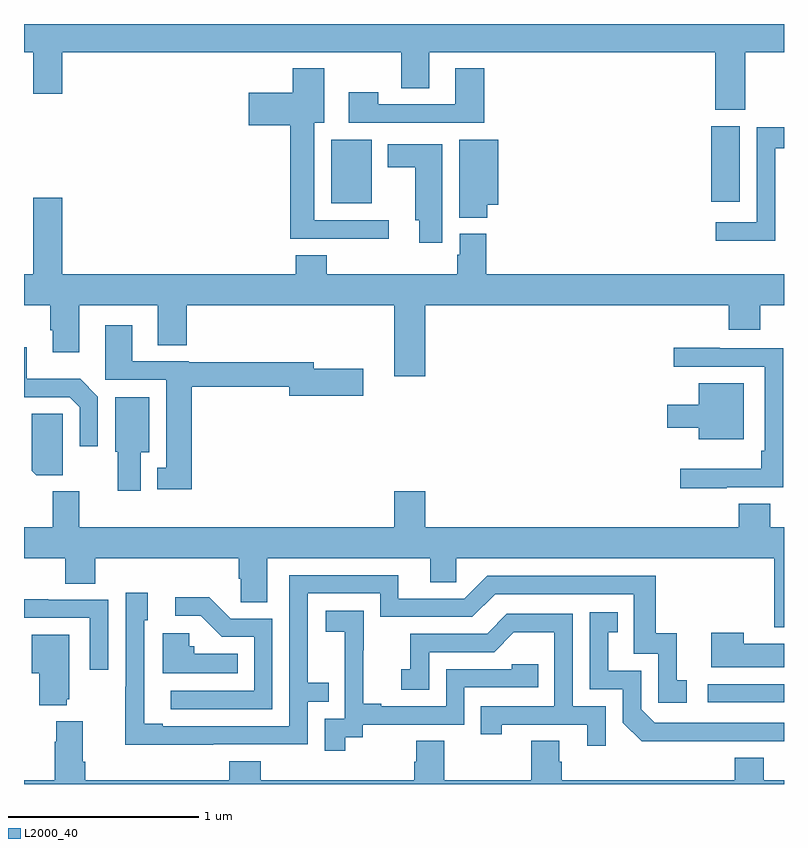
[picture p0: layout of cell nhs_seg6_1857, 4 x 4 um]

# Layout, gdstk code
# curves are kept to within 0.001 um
import gdstk
lib = gdstk.Library(unit=1e-6, precision=1e-09)
def R(c, l, rs):  # rectangles x0, y0, x1, y1
    for r in rs: c.add(gdstk.rectangle(r[:2], r[2:], *l))
def P(c, l, *ps):  # polygons
    for p in ps: c.add(gdstk.Polygon(p, *l))
L2000_40 = (2000, 40)

nhs_seg6_1857 = lib.new_cell('nhs_seg6_1857')
R(nhs_seg6_1857, L2000_40, [(226.599,927.93,227,928.026), (224.618,930.557,224.83,930.892), (226.616,930.564,226.768,930.963)])
P(nhs_seg6_1857, L2000_40, [(226.797,931.352),(227,931.352),(227,931.5),(223,931.5),(223,931.352),(223.049,931.352),(223.049,931.134),(223.202,931.134),(223.202,931.352),(224.986,931.352),(224.986,931.162),(225.133,931.162),(225.133,931.352),(226.637,931.352),(226.637,931.048),(226.797,931.048)],
  [(224.92,930.468),(224.527,930.468),(224.527,930.98),(224.581,930.98),(224.581,931.267),(224.414,931.267),(224.414,931.138),(224.184,931.138),(224.184,930.968),(224.402,930.968),(224.402,930.371),(224.92,930.371)],
  [(225.422,931.267),(225.269,931.267),(225.269,931.077),(224.865,931.077),(224.865,931.141),(224.709,931.141),(224.709,930.981),(225.422,930.981)],
  [(226.953,930.845),(227,930.845),(227,930.956),(226.857,930.956),(226.857,930.456),(226.641,930.456),(226.641,930.359),(226.953,930.359)],
  [(225.437,930.548),(225.496,930.548),(225.496,930.892),(225.29,930.892),(225.29,930.481),(225.437,930.481)],
  [(225.202,930.868),(224.915,930.868),(224.915,930.746),(225.059,930.746),(225.059,930.468),(225.08,930.468),(225.08,930.348),(225.202,930.348)],
  [(226.709,929.892),(226.874,929.892),(226.874,930.02),(227,930.02),(227,930.184),(225.434,930.184),(225.434,930.396),(225.293,930.396),(225.293,930.285),(225.281,930.285),(225.281,930.184),(224.594,930.184),(224.594,930.283),(224.429,930.283),(224.429,930.184),(223.202,930.184),(223.202,930.586),(223.049,930.586),(223.049,930.184),(223,930.184),(223,930.02),(223.139,930.02),(223.139,929.887),(223.151,929.887),(223.151,929.772),(223.291,929.772),(223.291,930.02),(223.703,930.02),(223.703,929.809),(223.856,929.809),(223.856,930.02),(224.948,930.02),(224.948,929.646),(225.112,929.646),(225.112,930.02),(226.709,930.02)],
  [(223.883,929.59),(224.396,929.59),(224.396,929.543),(224.785,929.543),(224.785,929.685),(224.524,929.685),(224.524,929.719),(223.866,929.719),(223.866,929.724),(223.57,929.724),(223.57,929.914),(223.427,929.914),(223.427,929.628),(223.748,929.628),(223.748,929.165),(223.7,929.165),(223.7,929.052),(223.883,929.052)],
  [(223.389,929.538),(223.295,929.632),(223.015,929.632),(223.015,929.8),(223,929.8),(223,929.535),(223.242,929.535),(223.293,929.484),(223.293,929.277),(223.389,929.277)],
  [(226.699,929.061),(226.995,929.061),(226.995,929.793),(226.663,929.793),(226.663,929.797),(226.419,929.797),(226.419,929.697),(226.899,929.697),(226.899,929.254),(226.879,929.254),(226.879,929.158),(226.455,929.158),(226.455,929.057),(226.699,929.057)],
  [(226.789,929.608),(226.55,929.608),(226.55,929.497),(226.386,929.497),(226.386,929.375),(226.55,929.375),(226.55,929.315),(226.789,929.315)],
  [(223.615,929.246),(223.66,929.246),(223.66,929.536),(223.481,929.536),(223.481,929.25),(223.493,929.25),(223.493,929.043),(223.615,929.043)],
  [(223.204,929.339),(223.203,929.339),(223.203,929.45),(223.041,929.45),(223.041,929.148),(223.065,929.125),(223.204,929.125)],
  [(227,928.852),(226.928,928.852),(226.928,928.976),(226.763,928.976),(226.763,928.852),(225.112,928.852),(225.112,929.041),(224.948,929.041),(224.948,928.852),(223.291,928.852),(223.291,929.04),(223.151,929.04),(223.151,928.852),(223,928.852),(223,928.688),(223.216,928.688),(223.216,928.555),(223.376,928.555),(223.376,928.688),(224.129,928.688),(224.129,928.579),(224.142,928.579),(224.142,928.456),(224.281,928.456),(224.281,928.688),(225.137,928.688),(225.137,928.561),(225.276,928.561),(225.276,928.688),(226.949,928.688),(226.949,928.326),(227,928.326)],
  [(223.997,927.708),(224.493,927.708),(224.493,927.933),(224.603,927.933),(224.603,928.034),(224.493,928.034),(224.493,928.503),(224.874,928.503),(224.874,928.38),(225.36,928.38),(225.48,928.5),(226.209,928.5),(226.209,928.185),(226.338,928.185),(226.338,927.927),(226.489,927.927),(226.489,928.047),(226.436,928.047),(226.436,928.294),(226.325,928.294),(226.325,928.596),(225.438,928.596),(225.318,928.476),(224.971,928.476),(224.971,928.599),(224.397,928.599),(224.397,927.804),(223.729,927.804),(223.729,927.817),(223.633,927.817),(223.632,928.362),(223.651,928.362),(223.651,928.507),(223.536,928.507),(223.536,928.013),(223.534,928.013),(223.534,927.707)],
  [(224.307,928.371),(224.088,928.371),(223.975,928.484),(223.797,928.484),(223.797,928.386),(223.931,928.386),(224.042,928.275),(224.211,928.275),(224.211,927.99),(223.773,927.99),(223.773,927.894),(224.307,927.894)],
  [(223.443,928.47),(223.127,928.47),(223.127,928.472),(223,928.472),(223,928.374),(223.347,928.374),(223.347,928.101),(223.443,928.101)],
  [(224.692,927.745),(224.784,927.745),(224.784,927.813),(225.318,927.813),(225.318,928.008),(225.707,928.008),(225.707,928.131),(225.567,928.131),(225.567,928.104),(225.222,928.104),(225.222,927.909),(224.881,927.909),(224.881,927.922),(224.786,927.922),(224.786,928.205),(224.787,928.205),(224.787,928.411),(224.589,928.411),(224.589,928.301),(224.687,928.301),(224.687,928.073),(224.688,928.073),(224.688,927.843),(224.583,927.843),(224.583,927.675),(224.692,927.675)],
  [(226.658,927.726),(227,927.726),(227,927.822),(226.32,927.822),(226.248,927.894),(226.248,928.095),(226.075,928.095),(226.075,928.299),(226.124,928.299),(226.124,928.405),(225.978,928.405),(225.978,927.999),(226.152,927.999),(226.152,927.822),(226.25,927.725)],
  [(226.062,927.909),(225.888,927.909),(225.888,928.395),(225.542,928.395),(225.437,928.29),(225.034,928.29),(225.034,928.105),(224.985,928.105),(224.985,927.996),(225.132,927.996),(225.132,928.194),(225.474,928.194),(225.578,928.298),(225.792,928.298),(225.792,927.909),(225.403,927.909),(225.403,927.762),(225.514,927.762),(225.514,927.813),(225.965,927.813),(225.965,927.702),(226.062,927.702)],
  [(227,928.237),(226.787,928.237),(226.787,928.297),(226.616,928.297),(226.616,928.115),(227,928.115)],
  [(224.126,928.186),(223.896,928.186),(223.896,928.224),(223.869,928.224),(223.869,928.294),(223.73,928.294),(223.73,928.082),(224.126,928.082)],
  [(223.226,927.945),(223.237,927.945),(223.237,928.285),(223.04,928.285),(223.04,928.082),(223.079,928.082),(223.079,927.914),(223.226,927.914)],
  [(227,927.52),(226.894,927.52),(226.894,927.637),(226.742,927.637),(226.742,927.52),(225.83,927.52),(225.83,927.618),(225.817,927.618),(225.817,927.728),(225.67,927.728),(225.67,927.52),(225.213,927.52),(225.213,927.728),(225.065,927.728),(225.065,927.618),(225.053,927.618),(225.053,927.52),(224.246,927.52),(224.246,927.619),(224.081,927.619),(224.081,927.52),(223.322,927.52),(223.322,927.616),(223.309,927.616),(223.309,927.829),(223.169,927.829),(223.169,927.722),(223.162,927.722),(223.162,927.52),(223,927.52),(223,927.5),(227,927.5)])

lib.write_gds('nhs_seg6_1857.gds')
